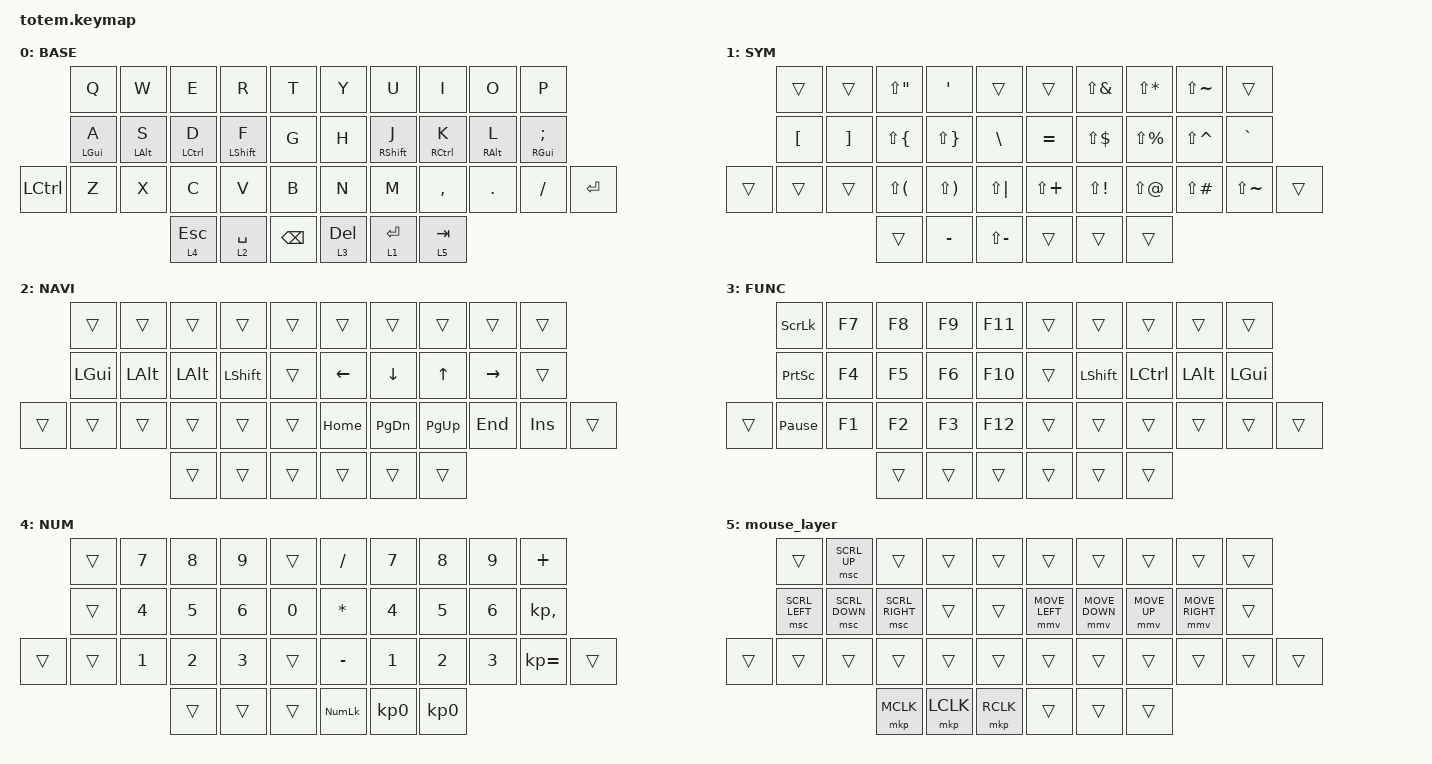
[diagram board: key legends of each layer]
//
//                                                        ▀▀▀▀▀     ▀▀▀▀▀          ▀▀█▀▀
//                                                        ▄▀▀▀▄  ▄  ▄▀▀▀▄  ▄  ▄▀▀▀▄  █  ▄▀▀▀▄
//                                                        █   █  █  █   █  █  █   █  █  █   █
//                                                         ▀▀▀   █   ▀▀▀   █   ▀▀▀   ▀   ▀▀▀
//                                                               █      ▄▄▄█▄▄▄    █   █  
//                                                               ▀      █  █  █     █▄█
//                                                             ▀▀▀▀▀    █  █  █      ▀
//                                                                      ▀  ▀  ▀
//
// ▄▄▄▄▄▄▄▄▄▄▄▄▄▄▄▄▄▄▄▄▄▄▄▄▄▄▄▄▄▄▄▄▄▄▄▄▄▄▄▄▄▄▄▄▄▄▄▄▄▄▄▄▄▄▄▄▄▄▄▄▄▄▄▄▄▄▄▄▄▄▄▄▄▄▄▄▄▄▄▄▄▄▄▄▄▄▄▄▄▄▄▄▄▄▄▄▄▄▄▄▄▄▄▄▄▄▄▄▄▄▄▄▄▄▄▄▄▄▄▄▄▄▄▄▄▄▄▄▄▄▄▄▄▄▄▄▄▄▄▄▄▄▄▄▄▄▄▄▄

#include <behaviors.dtsi>
#include <dt-bindings/zmk/keys.h>
#include <dt-bindings/zmk/pointing.h>

#define BASE 0
#define NAV  1
#define SYM  2
#define ADJ  3
#define TVP1 4
#define TVP2 5

&mt {
    quick-tap-ms = <185>;
    flavor = "tap-preferred";
    tapping-term-ms = <200>;
};

&lt {
    quick-tap-ms = <185>;
};

/ {
    combos {
        compatible = "zmk,combos";

        c1 {
            bindings = <&kp LBKT>;
            key-positions = <3 2>;
            timeout-ms = <20>;
        };

        c2 {
            bindings = <&kp RBKT>;
            key-positions = <6 7>;
            timeout-ms = <20>;
        };

        c3 {
            bindings = <&kp LPAR>;
            key-positions = <13 12>;
            timeout-ms = <20>;
        };

        c4 {
            bindings = <&kp RPAR>;
            key-positions = <16 17>;
            timeout-ms = <20>;
        };

        c5 {
            bindings = <&kp LBRC>;
            key-positions = <24 23>;
            timeout-ms = <20>;
        };

        c6 {
            bindings = <&kp RBRC>;
            key-positions = <27 28>;
            timeout-ms = <20>;
        };

        c7 {
            bindings = <&kp BSLH>;
            key-positions = <4 5>;
            timeout-ms = <20>;
        };

        c8 {
            bindings = <&kp PIPE>;
            key-positions = <14 15>;
            timeout-ms = <20>;
        };

        c9 {
            bindings = <&kp TAB>;
            key-positions = <18 17>;
            timeout-ms = <20>;
        };
    };

    keymap {
        compatible = "zmk,keymap";

        // ▄▄▄▄▄▄▄▄▄▄▄▄▄▄▄▄▄▄▄▄▄▄▄▄▄▄▄▄▄▄▄▄▄▄▄▄▄▄▄▄▄▄▄▄▄▄▄▄▄▄▄▄▄▄▄▄▄▄▄▄▄▄▄▄▄▄▄▄▄▄▄▄▄▄▄▄▄▄▄▄▄▄▄▄▄▄▄▄▄▄▄▄▄▄▄▄▄▄▄▄▄▄▄▄▄▄▄▄▄▄▄▄▄▄▄▄▄▄▄▄▄▄▄▄▄▄▄▄▄▄▄▄▄▄▄▄▄▄▄▄▄▄▄▄▄▄▄▄▄

        base_layer {
            // ┏━━━━━━━━━━━━━━━━━━━━━━━━━━━━━━━━━━━━━━━┓

            display-name = "BASE";

            // ┗━━━━━━━━━━━━━━━━━━━━━━━━━━━━━━━━━━━━━━━┛
            //             ┏━━━━━━━━━━━┳━━━━━━━━━━━┳━━━━━━━━━━━┳━━━━━━━━━━━┳━━━━━━━━━━━┓   ┏━━━━━━━━━━━┳━━━━━━━━━━━┳━━━━━━━━━━━┳━━━━━━━━━━━┳━━━━━━━━━━━┓
            //             ┃     Q     ┃     W     ┃     F     ┃     P     ┃     G     ┃   ┃     J     ┃     L     ┃     U     ┃     Y     ┃     ;     ┃
            //             ┣━━━━━━━━━━━╋━━━━━━━━━━━╋━━━━━━━━━━━╋━━━━━━━━━━━╋━━━━━━━━━━━┫   ┣━━━━━━━━━━━╋━━━━━━━━━━━╋━━━━━━━━━━━╋━━━━━━━━━━━╋━━━━━━━━━━━┫
            //             ┃     A     ┃     R     ┃     S     ┃     T     ┃     D     ┃   ┃     H     ┃     N     ┃     E     ┃     I     ┃     O     ┃
            // ┏━━━━━━━━━━━╋━━━━━━━━━━━╋━━━━━━━━━━━╋━━━━━━━━━━━╋━━━━━━━━━━━╋━━━━━━━━━━━┫   ┣━━━━━━━━━━━╋━━━━━━━━━━━╋━━━━━━━━━━━╋━━━━━━━━━━━╋━━━━━━━━━━━╋━━━━━━━━━━━┓
            // ┃     Q     ┃     Z     ┃     X     ┃     C     ┃     V     ┃     B     ┃   ┃     K     ┃     M     ┃     ,     ┃     .     ┃     /     ┃     \     ┃
            // ┗━━━━━━━━━━━┻━━━━━━━━━━━┻━━━━━━━━━━━╋━━━━━━━━━━━╋━━━━━━━━━━━╋━━━━━━━━━━━┫   ┣━━━━━━━━━━━╋━━━━━━━━━━━╋━━━━━━━━━━━╋━━━━━━━━━━━┻━━━━━━━━━━━┻━━━━━━━━━━━┛
            //                                     ┃    DEL    ┃    TAB    ┃    SPC    ┃   ┃   ENTER   ┃           ┃   BSPC    ┃
            //                                     ┗━━━━━━━━━━━┻━━━━━━━━━━━┻━━━━━━━━━━━┛   ┗━━━━━━━━━━━┻━━━━━━━━━━━┻━━━━━━━━━━━┛

            bindings = <
           &kp Q       &kp W       &kp E        &kp R        &kp T            &kp Y      &kp U        &kp I        &kp O       &kp P
           &mt LGUI A  &mt LALT S  &mt LCTRL D  &mt LSHFT F  &kp G            &kp H      &mt RSHFT J  &mt RCTRL K  &mt RALT L  &mt RGUI SEMICOLON
&kp LCTRL  &kp Z       &kp X       &kp C        &kp V        &kp B            &kp N      &kp M        &kp COMMA    &kp DOT     &kp FSLH            &kp ENTER
                                   &lt 4 ESC    &lt 2 SPACE  &kp BACKSPACE    &lt 3 DEL  &lt 1 ENTER  &lt 5 TAB
            >;
        };

        // ▄▄▄▄▄▄▄▄▄▄▄▄▄▄▄▄▄▄▄▄▄▄▄▄▄▄▄▄▄▄▄▄▄▄▄▄▄▄▄▄▄▄▄▄▄▄▄▄▄▄▄▄▄▄▄▄▄▄▄▄▄▄▄▄▄▄▄▄▄▄▄▄▄▄▄▄▄▄▄▄▄▄▄▄▄▄▄▄▄▄▄▄▄▄▄▄▄▄▄▄▄▄▄▄▄▄▄▄▄▄▄▄▄▄▄▄▄▄▄▄▄▄▄▄▄▄▄▄▄▄▄▄▄▄▄▄▄▄▄▄▄▄▄▄▄▄▄▄▄
        // ▄▄▄▄▄▄▄▄▄▄▄▄▄▄▄▄▄▄▄▄▄▄▄▄▄▄▄▄▄▄▄▄▄▄▄▄▄▄▄▄▄▄▄▄▄▄▄▄▄▄▄▄▄▄▄▄▄▄▄▄▄▄▄▄▄▄▄▄▄▄▄▄▄▄▄▄▄▄▄▄▄▄▄▄▄▄▄▄▄▄▄▄▄▄▄▄▄▄▄▄▄▄▄▄▄▄▄▄▄▄▄▄▄▄▄▄▄▄▄▄▄▄▄▄▄▄▄▄▄▄▄▄▄▄▄▄▄▄▄▄▄▄▄▄▄▄▄▄▄
        // ▄▄▄▄▄▄▄▄▄▄▄▄▄▄▄▄▄▄▄▄▄▄▄▄▄▄▄▄▄▄▄▄▄▄▄▄▄▄▄▄▄▄▄▄▄▄▄▄▄▄▄▄▄▄▄▄▄▄▄▄▄▄▄▄▄▄▄▄▄▄▄▄▄▄▄▄▄▄▄▄▄▄▄▄▄▄▄▄▄▄▄▄▄▄▄▄▄▄▄▄▄▄▄▄▄▄▄▄▄▄▄▄▄▄▄▄▄▄▄▄▄▄▄▄▄▄▄▄▄▄▄▄▄▄▄▄▄▄▄▄▄▄▄▄▄▄▄▄▄

        sym_layer {
            bindings = <
        &trans    &trans    &kp LS(DQT)   &kp APOS      &trans           &trans        &kp LS(AMPS)  &kp LS(STAR)   &kp LS(TILDE)  &trans
        &kp LBKT  &kp RBKT  &kp LS(LBRC)  &kp LS(RBRC)  &kp BSLH         &kp EQUAL     &kp LS(DLLR)  &kp LS(PRCNT)  &kp LS(CARET)  &kp GRAVE
&trans  &trans    &trans    &kp LS(LPAR)  &kp LS(RPAR)  &kp LS(PIPE)     &kp LS(PLUS)  &kp LS(EXCL)  &kp LS(AT)     &kp LS(POUND)  &kp LS(TILDE)  &trans
                            &trans        &kp MINUS     &kp LS(MINUS)    &trans        &trans        &trans
            >;

            label = "SYM";
        };

        nav_layer {
            bindings = <
        &trans    &trans    &trans    &trans     &trans    &trans    &trans     &trans     &trans     &trans
        &kp LGUI  &kp LALT  &kp LALT  &kp LSHFT  &trans    &kp LEFT  &kp DOWN   &kp UP     &kp RIGHT  &trans
&trans  &trans    &trans    &trans    &trans     &trans    &kp HOME  &kp PG_DN  &kp PG_UP  &kp END    &kp INSERT  &trans
                            &trans    &trans     &trans    &trans    &trans     &trans
            >;

            label = "NAVI";
        };

        function_layer {
            bindings = <
        &kp SCROLLLOCK   &kp F7  &kp F8  &kp F9  &kp F11    &trans  &trans          &trans     &trans        &trans
        &kp PRINTSCREEN  &kp F4  &kp F5  &kp F6  &kp F10    &trans  &kp LEFT_SHIFT  &kp LCTRL  &kp LEFT_ALT  &kp LGUI
&trans  &kp PAUSE_BREAK  &kp F1  &kp F2  &kp F3  &kp F12    &trans  &trans          &trans     &trans        &trans    &trans
                                 &trans  &trans  &trans     &trans  &trans          &trans
            >;

            label = "FUNC";
        };

        number_layer {
            bindings = <
        &trans  &kp N7  &kp N8  &kp N9  &trans          &kp FSLH        &kp N7           &kp N8           &kp N9  &kp PLUS
        &trans  &kp N4  &kp N5  &kp N6  &kp NUMBER_0    &kp STAR        &kp N4           &kp N5           &kp N6  &kp KP_COMMA
&trans  &trans  &kp N1  &kp N2  &kp N3  &trans          &kp MINUS       &kp N1           &kp N2           &kp N3  &kp KP_EQUAL  &trans
                        &trans  &trans  &trans          &kp KP_NUMLOCK  &kp KP_NUMBER_0  &kp KP_NUMBER_0
            >;

            label = "NUM";
        };

        mouse_layer {
            bindings = <
        &trans          &msc SCRL_UP    &trans           &trans     &trans       &trans          &trans          &trans        &trans           &trans
        &msc SCRL_LEFT  &msc SCRL_DOWN  &msc SCRL_RIGHT  &trans     &trans       &mmv MOVE_LEFT  &mmv MOVE_DOWN  &mmv MOVE_UP  &mmv MOVE_RIGHT  &trans
&trans  &trans          &trans          &trans           &trans     &trans       &trans          &trans          &trans        &trans           &trans  &trans
                                        &mkp MCLK        &mkp LCLK  &mkp RCLK    &trans          &trans          &trans
            >;
        };

        // ▄▄▄▄▄▄▄▄▄▄▄▄▄▄▄▄▄▄▄▄▄▄▄▄▄▄▄▄▄▄▄▄▄▄▄▄▄▄▄▄▄▄▄▄▄▄▄▄▄▄▄▄▄▄▄▄▄▄▄▄▄▄▄▄▄▄▄▄▄▄▄▄▄▄▄▄▄▄▄▄▄▄▄▄▄▄▄▄▄▄▄▄▄▄▄▄▄▄▄▄▄▄▄▄▄▄▄▄▄▄▄▄▄▄▄▄▄▄▄▄▄▄▄▄▄▄▄▄▄▄▄▄▄▄▄▄▄▄▄▄▄▄▄▄▄▄▄▄▄
        // ▄▄▄▄▄▄▄▄▄▄▄▄▄▄▄▄▄▄▄▄▄▄▄▄▄▄▄▄▄▄▄▄▄▄▄▄▄▄▄▄▄▄▄▄▄▄▄▄▄▄▄▄▄▄▄▄▄▄▄▄▄▄▄▄▄▄▄▄▄▄▄▄▄▄▄▄▄▄▄▄▄▄▄▄▄▄▄▄▄▄▄▄▄▄▄▄▄▄▄▄▄▄▄▄▄▄▄▄▄▄▄▄▄▄▄▄▄▄▄▄▄▄▄▄▄▄▄▄▄▄▄▄▄▄▄▄▄▄▄▄▄▄▄▄▄▄▄▄▄
    };
};
